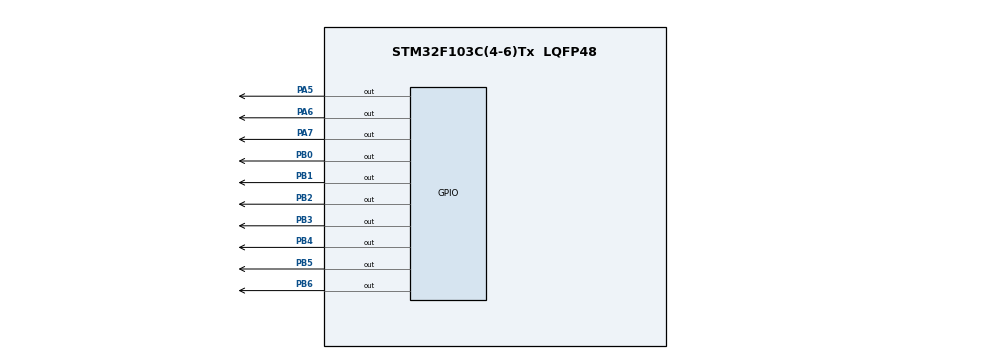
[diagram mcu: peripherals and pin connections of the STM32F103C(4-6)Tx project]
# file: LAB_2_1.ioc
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Mcu.Family=STM32F1
Mcu.Name=STM32F103C(4-6)Tx
Mcu.Package=LQFP48
NVIC.PriorityGroup=NVIC_PRIORITYGROUP_4
NVIC.TIM2_IRQn=true\:0\:0\:false\:false\:true\:true\:true
PA5.Signal=GPIO_Output
PA6.PinState=GPIO_PIN_SET
PA6.Signal=GPIO_Output
PA7.PinState=GPIO_PIN_SET
PA7.Signal=GPIO_Output
PB0.Signal=GPIO_Output
PB1.Signal=GPIO_Output
PB2.Signal=GPIO_Output
PB3.Signal=GPIO_Output
PB4.Signal=GPIO_Output
PB5.Signal=GPIO_Output
PB6.Signal=GPIO_Output
ProjectManager.HeapSize=0x200
ProjectManager.StackSize=0x400
ProjectManager.TargetToolchain=STM32CubeIDE
RCC.APB1Freq_Value=8000000
RCC.APB2Freq_Value=8000000
TIM2.AutoReloadPreload=TIM_AUTORELOAD_PRELOAD_ENABLE
TIM2.Period=499
TIM2.Prescaler=7999
VP_SYS_VS_ND.Mode=No_Debug
VP_TIM2_VS_ClockSourceINT.Mode=Internal
board=custom

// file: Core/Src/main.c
/* USER CODE BEGIN Header */
/**
  ******************************************************************************
  * @file           : main.c
  * @brief          : Main program body for Lab 2 - Exercise 1
  ******************************************************************************
  */
/* USER CODE END Header */
#include "main.h"

TIM_HandleTypeDef htim2;

/* USER CODE BEGIN PV */
int display_state = 0;
/* USER CODE END PV */

void SystemClock_Config(void);
static void MX_GPIO_Init(void);
static void MX_TIM2_Init(void);

/* USER CODE BEGIN 0 */
void display7SEG(int num) {
    // Hex array for common anode 7-segment (0 turns segment ON, 1 turns it OFF)
    uint8_t segmentMap[10] = {0x40, 0x79, 0x24, 0x30, 0x19, 0x12, 0x02, 0x78, 0x00, 0x10};

    if (num < 0 || num > 9) return;

    uint8_t val = segmentMap[num];

    // Write the corresponding bit to PB0 - PB6
    HAL_GPIO_WritePin(GPIOB, GPIO_PIN_0, (val >> 0) & 0x01);
    HAL_GPIO_WritePin(GPIOB, GPIO_PIN_1, (val >> 1) & 0x01);
    HAL_GPIO_WritePin(GPIOB, GPIO_PIN_2, (val >> 2) & 0x01);
    HAL_GPIO_WritePin(GPIOB, GPIO_PIN_3, (val >> 3) & 0x01);
    HAL_GPIO_WritePin(GPIOB, GPIO_PIN_4, (val >> 4) & 0x01);
    HAL_GPIO_WritePin(GPIOB, GPIO_PIN_5, (val >> 5) & 0x01);
    HAL_GPIO_WritePin(GPIOB, GPIO_PIN_6, (val >> 6) & 0x01);
}
/* USER CODE END 0 */

int main(void)
{

  /* MCU Configuration--------------------------------------------------------*/

  /* Reset of all peripherals, Initializes the Flash interface and the Systick. */
  HAL_Init();

  /* Configure the system clock */
  SystemClock_Config();

  /* Initialize all configured peripherals */
  MX_GPIO_Init();
  MX_TIM2_Init();
  /* USER CODE BEGIN 2 */
  // Start TIM2 in interrupt mode
  if (HAL_TIM_Base_Start_IT(&htim2) != HAL_OK) {
      Error_Handler();
  }
  /* USER CODE END 2 */

  /* Infinite loop */
  while (1)
  {

  }
}

void SystemClock_Config(void)
{
  RCC_OscInitTypeDef RCC_OscInitStruct = {0};
  RCC_ClkInitTypeDef RCC_ClkInitStruct = {0};

  /** Initializes the RCC Oscillators according to the specified parameters
  * in the RCC_OscInitTypeDef structure.
  */
  RCC_OscInitStruct.OscillatorType = RCC_OSCILLATORTYPE_HSI;
  RCC_OscInitStruct.HSIState = RCC_HSI_ON;
  RCC_OscInitStruct.HSICalibrationValue = RCC_HSICALIBRATION_DEFAULT;
  RCC_OscInitStruct.PLL.PLLState = RCC_PLL_NONE;
  if (HAL_RCC_OscConfig(&RCC_OscInitStruct) != HAL_OK)
  {
    Error_Handler();
  }
  /** Initializes the CPU, AHB and APB buses clocks
  */
  RCC_ClkInitStruct.ClockType = RCC_CLOCKTYPE_HCLK|RCC_CLOCKTYPE_SYSCLK
                              |RCC_CLOCKTYPE_PCLK1|RCC_CLOCKTYPE_PCLK2;
  RCC_ClkInitStruct.SYSCLKSource = RCC_SYSCLKSOURCE_HSI;
  RCC_ClkInitStruct.AHBCLKDivider = RCC_SYSCLK_DIV1;
  RCC_ClkInitStruct.APB1CLKDivider = RCC_HCLK_DIV1;
  RCC_ClkInitStruct.APB2CLKDivider = RCC_HCLK_DIV1;

  if (HAL_RCC_ClockConfig(&RCC_ClkInitStruct, FLASH_LATENCY_0) != HAL_OK)
  {
    Error_Handler();
  }
}

static void MX_TIM2_Init(void)
{

  TIM_ClockConfigTypeDef sClockSourceConfig = {0};
  TIM_MasterConfigTypeDef sMasterConfig = {0};

  htim2.Instance = TIM2;
  htim2.Init.Prescaler = 7999;
  htim2.Init.CounterMode = TIM_COUNTERMODE_UP;
  htim2.Init.Period = 499;
  htim2.Init.ClockDivision = TIM_CLOCKDIVISION_DIV1;
  htim2.Init.AutoReloadPreload = TIM_AUTORELOAD_PRELOAD_ENABLE;
  if (HAL_TIM_Base_Init(&htim2) != HAL_OK)
  {
    Error_Handler();
  }
  sClockSourceConfig.ClockSource = TIM_CLOCKSOURCE_INTERNAL;
  if (HAL_TIM_ConfigClockSource(&htim2, &sClockSourceConfig) != HAL_OK)
  {
    Error_Handler();
  }
  sMasterConfig.MasterOutputTrigger = TIM_TRGO_RESET;
  sMasterConfig.MasterSlaveMode = TIM_MASTERSLAVEMODE_DISABLE;
  if (HAL_TIMEx_MasterConfigSynchronization(&htim2, &sMasterConfig) != HAL_OK)
  {
    Error_Handler();
  }

}

static void MX_GPIO_Init(void)
{
  GPIO_InitTypeDef GPIO_InitStruct = {0};

  /* GPIO Ports Clock Enable */
  __HAL_RCC_GPIOA_CLK_ENABLE();
  __HAL_RCC_GPIOB_CLK_ENABLE();

  /*Configure GPIO pin Output Level */
  HAL_GPIO_WritePin(GPIOA, GPIO_PIN_5, GPIO_PIN_RESET);

  /*Configure GPIO pin Output Level */
  HAL_GPIO_WritePin(GPIOA, GPIO_PIN_6|GPIO_PIN_7, GPIO_PIN_SET);

  /*Configure GPIO pin Output Level */
  HAL_GPIO_WritePin(GPIOB, GPIO_PIN_0|GPIO_PIN_1|GPIO_PIN_2|GPIO_PIN_3
                          |GPIO_PIN_4|GPIO_PIN_5|GPIO_PIN_6, GPIO_PIN_RESET);

  /*Configure GPIO pins : PA5 PA6 PA7 */
  GPIO_InitStruct.Pin = GPIO_PIN_5|GPIO_PIN_6|GPIO_PIN_7;
  GPIO_InitStruct.Mode = GPIO_MODE_OUTPUT_PP;
  GPIO_InitStruct.Pull = GPIO_NOPULL;
  GPIO_InitStruct.Speed = GPIO_SPEED_FREQ_LOW;
  HAL_GPIO_Init(GPIOA, &GPIO_InitStruct);

  /*Configure GPIO pins : PB0 PB1 PB2 PB3
                           PB4 PB5 PB6 */
  GPIO_InitStruct.Pin = GPIO_PIN_0|GPIO_PIN_1|GPIO_PIN_2|GPIO_PIN_3
                          |GPIO_PIN_4|GPIO_PIN_5|GPIO_PIN_6;
  GPIO_InitStruct.Mode = GPIO_MODE_OUTPUT_PP;
  GPIO_InitStruct.Pull = GPIO_NOPULL;
  GPIO_InitStruct.Speed = GPIO_SPEED_FREQ_LOW;
  HAL_GPIO_Init(GPIOB, &GPIO_InitStruct);

}

/* USER CODE BEGIN 4 */
void HAL_TIM_PeriodElapsedCallback(TIM_HandleTypeDef *htim)
{
    if(htim->Instance == TIM2)
    {
        // Toggle between the two 7-segment displays every 500ms
        if (display_state == 0) {
            // Turn OFF EN1 (PA7) to prevent ghosting
            HAL_GPIO_WritePin(GPIOA, GPIO_PIN_7, GPIO_PIN_SET);

            // Output '1' to 7-segment data pins
            display7SEG(1);

            // Turn ON EN0 (PA6)
            HAL_GPIO_WritePin(GPIOA, GPIO_PIN_6, GPIO_PIN_RESET);

            display_state = 1;
        }
        else {
            // Turn OFF EN0 (PA6) to prevent ghosting
            HAL_GPIO_WritePin(GPIOA, GPIO_PIN_6, GPIO_PIN_SET);

            // Output '2' to 7-segment data pins
            display7SEG(2);

            // Turn ON EN1 (PA7)
            HAL_GPIO_WritePin(GPIOA, GPIO_PIN_7, GPIO_PIN_RESET);

            display_state = 0;
        }

        // Toggle the RED LED on PA5 to visually confirm the timer is running
        HAL_GPIO_TogglePin(GPIOA, GPIO_PIN_5);
    }
}
/* USER CODE END 4 */

void Error_Handler(void)
{
  __disable_irq();
  while (1)
  {
  }
}

/************************ (C) COPYRIGHT STMicroelectronics *****END OF FILE****/
